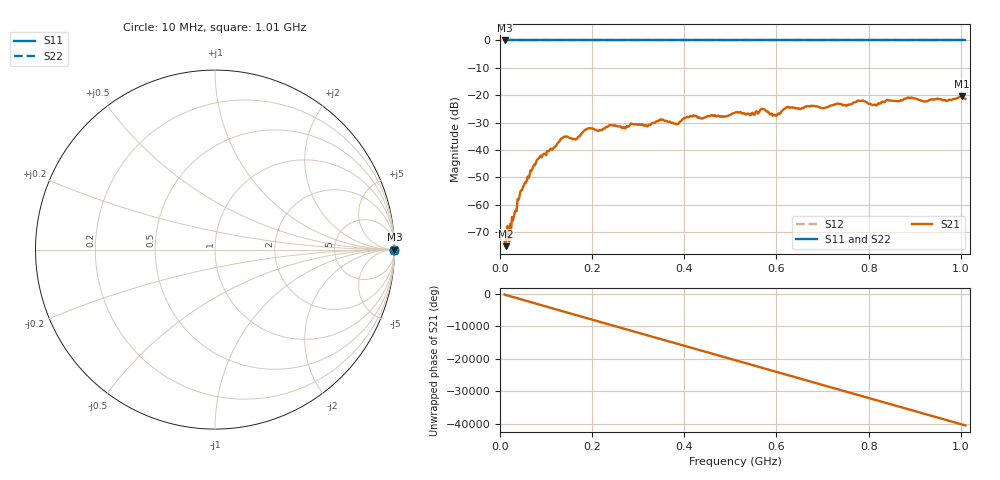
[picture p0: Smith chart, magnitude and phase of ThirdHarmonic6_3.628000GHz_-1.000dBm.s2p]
! 8/17/2025 12:09:44 PM
! C:\ANRITSUVNA\TEMP\TEMP.S2P
! CHANNEL.1
! TR.MEASUREMENT
! RAW.DATA
! RF.CORRECTION.OFF
! AVERAGING.OFF
! IF.BANDWIDTH: 5KHZ
! SWEEPTYPE:  FREQ.SWEEP(Linear)
! Reference Plane Port Info
! PORT:  PORT1  PORT2
! DISTANCE:  0  m  0  m
! TIME:  0  s  0  s
! PHASE.OFFSET:  0  deg.  0  deg.
! LOSS:  0  dB  0  dB
! REF.LOSS:  0  dB  0  dB
! REF.FREQ:  0  Hz  0  Hz
! Power Info
! POWER:  -20  dBm  -20  dBm
! EFF.POWER:  -20  dBm  -20  dBm
! SOURCE.ATTEN:  0  dB  0  dB
! TEST.ATTEN:  0  dB  0  dB
# GHZ S RI R 50.0
! FREQ.GHZ  S11RE  S11IM  S21RE  S21IM  S12RE  S12IM  S22RE  S22IM
!; PortSelection: Port_12
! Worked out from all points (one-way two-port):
!   501 points, 10 MHz to 1.01 GHz, reference 50 ohm
!   highest |S21| = -20.46 dB at 1.002 GHz (marker M1); lowest = -75.2 dB at 12 MHz (marker M2)
!   lowest |S11| = 0.0 dB at 10 MHz (marker M3)
!   |S11| at or under -10 dB: nowhere
!   |S22| runs from 0.0 to 0.0 dB; largest |S21 - S12| = 1.1
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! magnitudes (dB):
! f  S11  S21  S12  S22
! 10 MHz  0.0  -73.5  0.0  0.0
! 12 MHz  0.0  -75.2  0.0  0.0
! 24 MHz  0.0  -69.5  0.0  0.0
! 48 MHz  0.0  -54.6  0.0  0.0
! 84 MHz  0.0  -43.1  0.0  0.0
! 136 MHz  0.0  -35.6  0.0  0.0
! 164 MHz  0.0  -36.2  0.0  0.0
! 178 MHz  0.0  -33.8  0.0  0.0
! 344 MHz  0.0  -29.4  0.0  0.0
! 384 MHz  0.0  -30.6  0.0  0.0
! 416 MHz  0.0  -27.8  0.0  0.0
! 510 MHz  0.0  -26.4  0.0  0.0
! 548 MHz  0.0  -26.4  0.0  0.0
! 570 MHz  0.0  -25.0  0.0  0.0
! 596 MHz  0.0  -27.1  0.0  0.0
! 622 MHz  0.0  -24.4  0.0  0.0
! 678 MHz  0.0  -24.0  0.0  0.0
! 784 MHz  0.0  -22.1  0.0  0.0
! 814 MHz  0.0  -23.5  0.0  0.0
! 844 MHz  0.0  -22.0  0.0  0.0
! 1.002 GHz  0.0  -20.5  0.0  0.0
! 1.01 GHz  0.0  -21.4  0.0  0.0
